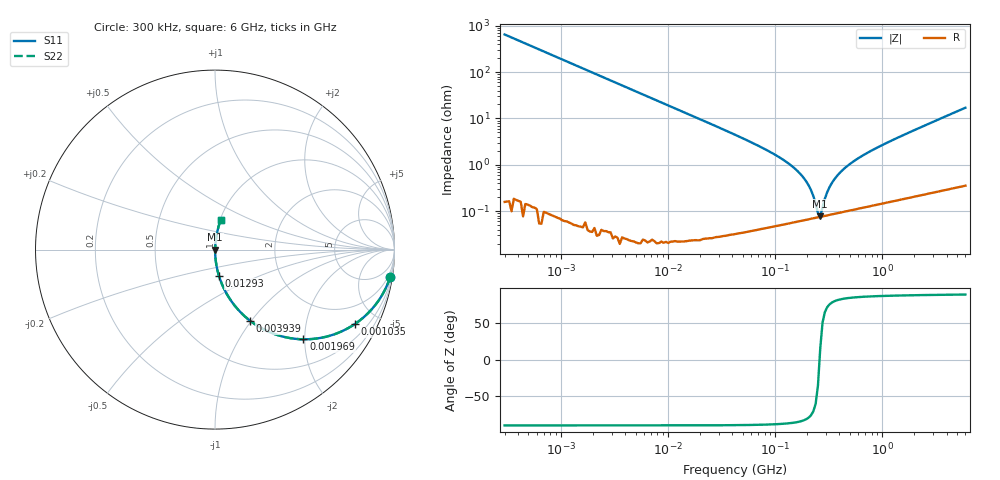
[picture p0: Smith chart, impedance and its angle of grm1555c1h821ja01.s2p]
!Murata Part Number:GRM1555C1H821JA01
!These Parameters are Measured in Series Mode Connection
!  o--ll--o
!Port1  Port2
!  o------o
!Operation Temp=25[C], DC Bias Voltage=0[V]
!Freq. Start=300[kHz] Stop=6[GHz], 201[Steps]
# Hz S DB R 50
!Freq.[Hz] MagS11[dB] PhaseS11[DEG] MagS21[dB] PhaseS21[DEG] MagS12[dB] PhaseS12[DEG] MagS22[dB] PhaseS22[DEG]
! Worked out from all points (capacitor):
!   201 points, 300 kHz to 6 GHz, reference 50 ohm
!   read as one part in series: C = 820 pF near 315.2 kHz
!   lowest |Z| = 78.1 mohm at 265 MHz (marker M1)
!   series resonance near 261.5 MHz, so ESL is about 450 pH
!   S11 on the Smith chart (normalised r, x): 300 kHz: 1, -13; 1.035 MHz: 1.00, -3.75; 1.969 MHz: 1.00, -1.97; 3.939 MHz: 1.00, -0.99; 12.93 MHz: 1.00, -0.30; 6 GHz: 1.01, +0.34
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300000  -0.10 -8.8  -16.32 81.2  -16.32 81.2  -0.10 -8.8
600058  -0.40 -17.2  -10.59 72.8  -10.59 72.8  -0.40 -17.2
1034546  -1.09 -28.1  -6.55 61.9  -6.55 61.9  -1.09 -28.1
1615461  -2.29 -39.8  -3.88 50.2  -3.88 50.2  -2.29 -39.8
1969323  -3.08 -45.4  -2.95 44.6  -2.95 44.6  -3.08 -45.4
3939028  -7.09 -63.8  -0.95 26.2  -0.95 26.2  -7.09 -63.8
8278779  -12.84 -76.8  -0.23 13.2  -0.23 13.2  -12.84 -76.8
1.292744e7  -16.59 -81.4  -0.10 8.5  -0.10 8.5  -16.59 -81.4
4.242641e7  -27.04 -87.0  -0.01 2.5  -0.01 2.5  -27.04 -87.0
8.916892e7  -34.32 -87.6  -0.01 1.1  -0.01 1.1  -34.32 -87.6
1.392387e8  -40.00 -86.3  -0.01 0.6  -0.01 0.6  -40.00 -86.3
1.874091e8  -45.90 -82.5  -0.01 0.3  -0.01 0.3  -45.90 -82.5
2.069193e8  -48.96 -79.0  -0.01 0.2  -0.01 0.2  -48.96 -79.0
2.284606e8  -53.45 -70.6  -0.01 0.1  -0.01 0.1  -53.45 -70.6
2.522445e8  -60.85 -35.8  -0.01 0.0  -0.01 0.0  -60.85 -35.8
2.650494e8  -62.15 15.2  -0.01 -0.0  -0.01 -0.0  -62.15 15.2
3.07498e8  -51.87 71.3  -0.01 -0.1  -0.01 -0.1  -51.87 71.3
3.3951e8  -47.93 77.5  -0.01 -0.2  -0.01 -0.2  -47.93 77.5
3.938837e8  -43.99 81.3  -0.01 -0.4  -0.01 -0.4  -43.99 81.3
5.853413e8  -37.50 84.5  -0.01 -0.8  -0.01 -0.8  -37.50 84.5
1.170796e9  -30.02 85.3  -0.02 -1.8  -0.02 -1.8  -30.02 85.3
6e9  -15.54 79.2  -0.15 -9.6  -0.15 -9.6  -15.54 79.2
